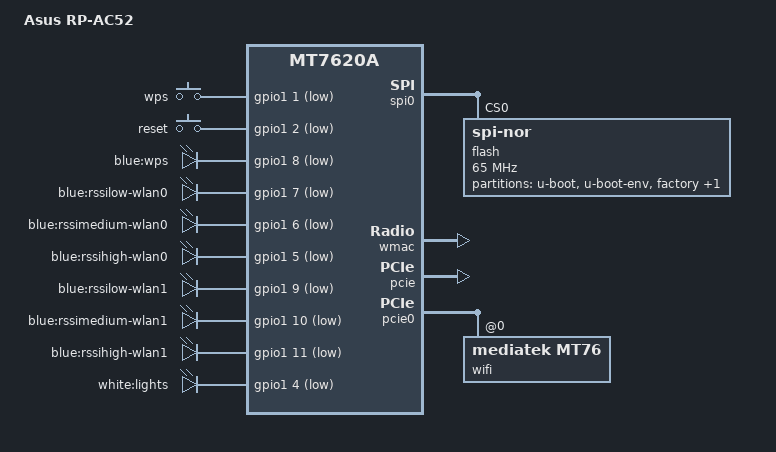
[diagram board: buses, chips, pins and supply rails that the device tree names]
#include "mt7620a.dtsi"

#include <dt-bindings/gpio/gpio.h>
#include <dt-bindings/input/input.h>

/ {
	compatible = "asus,rp-ac52", "ralink,mt7620a-soc";
	model = "Asus RP-AC52";

	aliases {
		label-mac-device = &ethernet;
		led-boot = &led_power;
		led-failsafe = &led_power;
		led-running = &led_power;
		led-upgrade = &led_power;
	};

	keys {
		compatible = "gpio-keys";

		wps {
			label = "wps";
			gpios = <&gpio1 1 GPIO_ACTIVE_LOW>;
			linux,code = <KEY_WPS_BUTTON>;
		};

		reset {
			label = "reset";
			gpios = <&gpio1 2 GPIO_ACTIVE_LOW>;
			linux,code = <KEY_RESTART>;
		};

/*		audio_jack {
			label = "audio_jack";
			gpios = <&gpio1 3 GPIO_ACTIVE_HIGH>;
			linux,code = <BTN_0>;
		};
*/	};

	leds {
		compatible = "gpio-leds";

		led_power: wps {
			label = "blue:wps";
			gpios = <&gpio1 8 GPIO_ACTIVE_LOW>;
		};

		rssilow-wlan0 {
			label = "blue:rssilow-wlan0";
			gpios = <&gpio1 7 GPIO_ACTIVE_LOW>;
		};

		rssimedium-wlan0 {
			label = "blue:rssimedium-wlan0";
			gpios = <&gpio1 6 GPIO_ACTIVE_LOW>;
		};

		rssihigh-wlan0 {
			label = "blue:rssihigh-wlan0";
			gpios = <&gpio1 5 GPIO_ACTIVE_LOW>;
		};

		rssilow-wlan1 {
			label = "blue:rssilow-wlan1";
			gpios = <&gpio1 9 GPIO_ACTIVE_LOW>;
		};

		rssimedium-wlan1 {
			label = "blue:rssimedium-wlan1";
			gpios = <&gpio1 10 GPIO_ACTIVE_LOW>;
		};

		rssihigh-wlan1 {
			label = "blue:rssihigh-wlan1";
			gpios = <&gpio1 11 GPIO_ACTIVE_LOW>;
		};

		lights {
			label = "white:lights";
			gpios = <&gpio1 4 GPIO_ACTIVE_LOW>;
		};
	};

/*	sound {
		compatible = "simple-audio-card";
		simple-audio-card,name = "Audio-I2S";
		simple-audio-card,format = "i2s";
		simple-audio-card,bitclock-master = <&cpu_dai_master>;
		simple-audio-card,frame-master = <&cpu_dai_master>;
		simple-audio-card,widgets =
			"Speaker", "Speakers";
		simple-audio-card,routing =
			"Speakers", "Speaker";

		cpu_dai_master: simple-audio-card,cpu {
			sound-dai = <&i2s>;
		};

		dailink0_master: simple-audio-card,codec {
			sound-dai = <&codec>;
		};
	};

	codec: max98357a {
		#sound-dai-cells = <0>;
		compatible = "maxim,max98357a";
	};
*/};

&spi0 {
	status = "okay";

	flash@0 {
		compatible = "jedec,spi-nor";
		reg = <0>;

		spi-max-frequency = <65000000>;
		m25p,fast-read;

		partitions {
			compatible = "fixed-partitions";
			#address-cells = <1>;
			#size-cells = <1>;

			partition@0 {
				label = "u-boot";
				reg = <0x0 0x30000>;
				read-only;
			};

			partition@30000 {
				label = "u-boot-env";
				reg = <0x30000 0x10000>;
				read-only;
			};

			factory: partition@40000 {
				label = "factory";
				reg = <0x40000 0x10000>;
				read-only;

				compatible = "nvmem-cells";
				#address-cells = <1>;
				#size-cells = <1>;

				macaddr_factory_4: macaddr@4 {
					reg = <0x4 0x6>;
				};
			};

			partition@50000 {
				compatible = "denx,uimage";
				label = "firmware";
				reg = <0x50000 0x7b0000>;
			};
		};
	};
};

&gpio1 {
	status = "okay";
};

/*&gdma {
	status = "okay";
};

&i2s {
	#sound-dai-cells = <0>;
	status = "okay";
};

&i2c {
	status = "okay";

	codec: wm8960@18 {
		#sound-dai-cells = <0>;
		compatible = "wlf,wm8960";
		reg = <0x18>;

		wlf,shared-lrclk;
	};
};
*/
&state_default {
	gpio {
		groups = "pa", "nd_sd", "spi refclk", "rgmii2", "rgmii1", "mdio";
		function = "gpio";
	};
};

&ethernet {
	pinctrl-names = "default";
	pinctrl-0 = <&ephy_pins>;

	nvmem-cells = <&macaddr_factory_4>;
	nvmem-cell-names = "mac-address";
};

&wmac {
	ralink,mtd-eeprom = <&factory 0x0>;
};

&pcie {
	status = "okay";
};

&pcie0 {
	wifi@0,0 {
		compatible = "mediatek,mt76";
		reg = <0x0000 0 0 0 0>;
		mediatek,mtd-eeprom = <&factory 0x8000>;
		ieee80211-freq-limit = <5000000 6000000>;
	};
};
